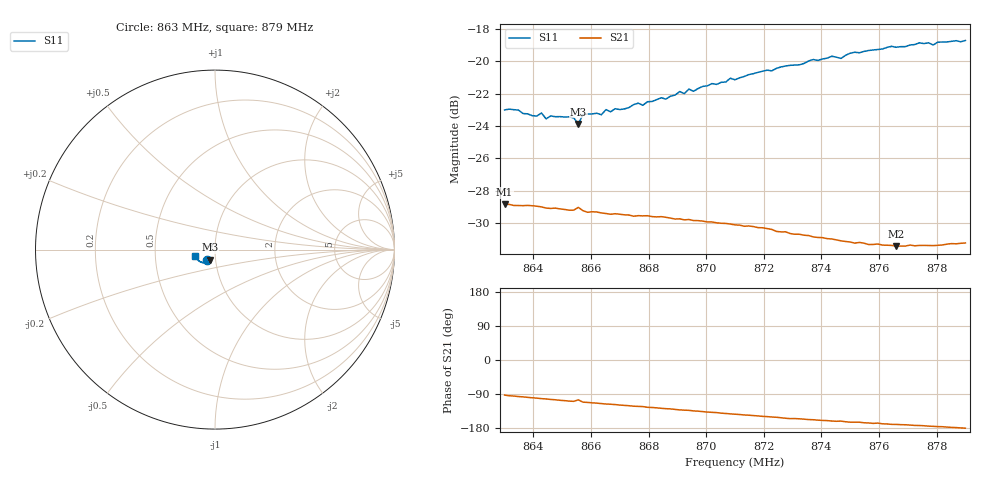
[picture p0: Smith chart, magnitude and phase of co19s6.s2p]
# HZ S RI R 50
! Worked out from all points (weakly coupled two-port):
!   101 points, 863 MHz to 879 MHz, reference 50 ohm
!   highest |S21| = -28.83 dB at 863 MHz (marker M1); lowest = -31.4 dB at 876.6 MHz (marker M2)
!   lowest |S11| = -23.9 dB at 865.56 MHz (marker M3), VSWR 1.14, Z = 46.8 - j5.35 ohm
!   |S11| at or under -10 dB: start of sweep to end of sweep
!   S12 and S22 are empty: the file has one direction only
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8.63e8  -0.0444 -0.0552  -0.00169 -0.0361  0 0  0 0
8.6348e8  -0.0435 -0.0558  -0.00403 -0.0356  0 0  0 0
8.6396e8  -0.0409 -0.0542  -0.00607 -0.0353  0 0  0 0
8.6428e8  -0.0403 -0.0564  -0.00734 -0.0347  0 0  0 0
8.6444e8  -0.0383 -0.0542  -0.0078 -0.0343  0 0  0 0
8.6524e8  -0.0373 -0.0561  -0.011 -0.0329  0 0  0 0
8.6556e8  -0.0296 -0.0569  -0.00923 -0.0341  0 0  0 0
8.6572e8  -0.036 -0.0582  -0.0125 -0.0322  0 0  0 0
8.6636e8  -0.0359 -0.0582  -0.0144 -0.0308  0 0  0 0
8.6652e8  -0.036 -0.0611  -0.0149 -0.0304  0 0  0 0
8.6668e8  -0.0345 -0.0607  -0.0152 -0.0301  0 0  0 0
8.6764e8  -0.0375 -0.0641  -0.0179 -0.0282  0 0  0 0
8.678e8  -0.036 -0.0637  -0.0181 -0.0279  0 0  0 0
8.6844e8  -0.0387 -0.0668  -0.0201 -0.0263  0 0  0 0
8.7084e8  -0.0499 -0.0733  -0.0248 -0.0193  0 0  0 0
8.71e8  -0.0493 -0.0726  -0.0249 -0.0188  0 0  0 0
8.7372e8  -0.0703 -0.073  -0.0265 -0.0109  0 0  0 0
8.7468e8  -0.0744 -0.0699  -0.0264 -0.00899  0 0  0 0
8.75e8  -0.0817 -0.0675  -0.0266 -0.00762  0 0  0 0
8.7644e8  -0.0934 -0.0605  -0.0266 -0.00475  0 0  0 0
8.766e8  -0.0935 -0.0591  -0.0264 -0.00468  0 0  0 0
8.79e8  -0.1097 -0.0378  -0.0275 -1.6e-05  0 0  0 0
